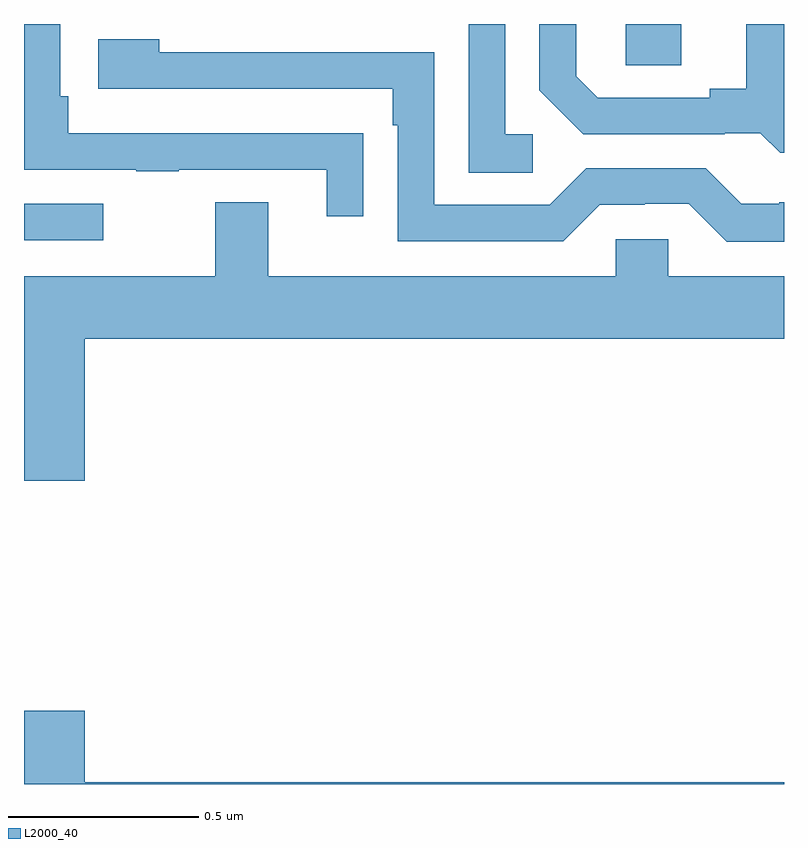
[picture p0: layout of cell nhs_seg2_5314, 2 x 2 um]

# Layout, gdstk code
import gdstk
lib = gdstk.Library(unit=1e-6, precision=1e-09)
def R(c, l, rs):  # rectangles x0, y0, x1, y1
    for r in rs: c.add(gdstk.rectangle(r[:2], r[2:], *l))
def P(c, l, *ps):  # polygons
    for p in ps: c.add(gdstk.Polygon(p, *l))
L2000_40 = (2000, 40)

nhs_seg2_5314 = lib.new_cell('nhs_seg2_5314')
R(nhs_seg2_5314, L2000_40, [(177,645.231,177.208,645.327), (178.584,645.691,178.729,645.8)])
P(nhs_seg2_5314, L2000_40, [(177.893,645.512),(177.791,645.512),(177.791,645.513),(177.116,645.513),(177.116,645.61),(177.096,645.61),(177.096,645.8),(177,645.8),(177,645.417),(177.295,645.417),(177.295,645.412),(177.407,645.412),(177.407,645.417),(177.797,645.417),(177.797,645.294),(177.893,645.294)],
  [(178.339,645.51),(178.266,645.51),(178.266,645.8),(178.17,645.8),(178.17,645.409),(178.339,645.409)],
  [(179,645.8),(178.901,645.8),(178.901,645.629),(178.805,645.629),(178.805,645.606),(178.51,645.606),(178.453,645.663),(178.453,645.8),(178.356,645.8),(178.356,645.626),(178.472,645.51),(178.844,645.51),(178.844,645.513),(178.938,645.513),(178.99,645.461),(179,645.461)],
  [(179,645.331),(178.987,645.331),(178.987,645.327),(178.887,645.327),(178.794,645.42),(178.479,645.42),(178.383,645.324),(178.08,645.324),(178.08,645.726),(177.356,645.726),(177.356,645.76),(177.195,645.76),(177.195,645.63),(177.971,645.63),(177.971,645.533),(177.984,645.533),(177.984,645.228),(178.419,645.228),(178.515,645.324),(178.634,645.324),(178.634,645.327),(178.749,645.327),(178.849,645.227),(179,645.227)],
  [(177.16,644.972),(179,644.972),(179,645.136),(178.695,645.136),(178.695,645.234),(178.557,645.234),(178.557,645.136),(177.643,645.136),(177.643,645.331),(177.503,645.331),(177.503,645.136),(177,645.136),(177,644.598),(177.16,644.598)],
  [(179,643.804),(177.16,643.804),(177.16,643.993),(177,643.993),(177,643.8),(179,643.8)])

lib.write_gds('nhs_seg2_5314.gds')
